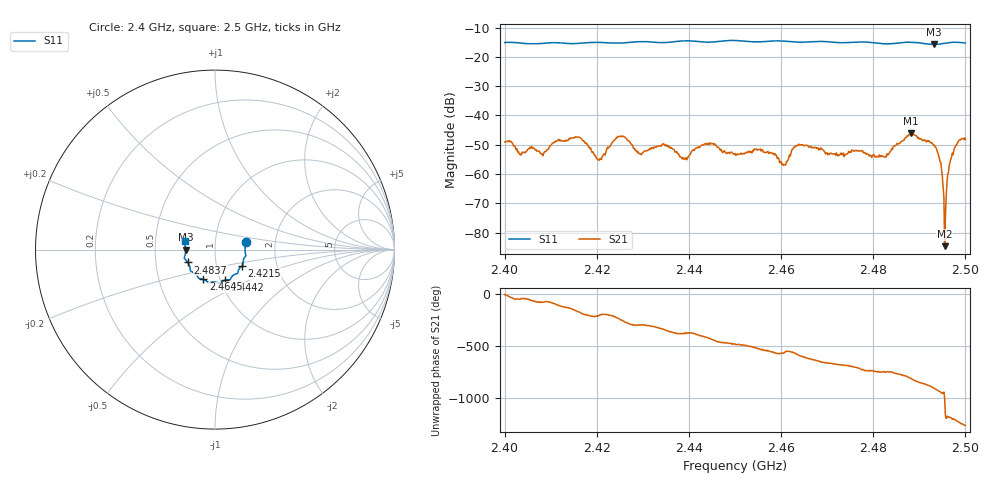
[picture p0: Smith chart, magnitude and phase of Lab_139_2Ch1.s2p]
# Hz S RI R 50
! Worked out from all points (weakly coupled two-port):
!   601 points, 2.4 GHz to 2.5 GHz, reference 50 ohm
!   highest |S21| = -46.10 dB at 2.4882 GHz (marker M1); lowest = -84.6 dB at 2.4955 GHz (marker M2)
!   lowest |S11| = -15.7 dB at 2.4932 GHz (marker M3), VSWR 1.39, Z = 35.9 - j0.0501 ohm
!   |S11| at or under -10 dB: start of sweep to end of sweep
!   S12 and S22 are empty: the file has one direction only
!   S11 on the Smith chart (normalised r, x): 2.4 GHz: 1.41, +0.12; 2.4215 GHz: 1.33, -0.25; 2.4442 GHz: 1.05, -0.37; 2.4645 GHz: 0.83, -0.29; 2.4837 GHz: 0.73, -0.11; 2.5 GHz: 0.71, +0.07
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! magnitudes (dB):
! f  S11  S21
! 2.4 GHz  -15.1  -49.0
! 2.4082 GHz  -15.4  -53.1
! 2.4167 GHz  -15.3  -47.9
! 2.4215 GHz  -15.1  -53.2
! 2.425 GHz  -15.3  -47.1
! 2.4295 GHz  -14.8  -53.2
! 2.4333 GHz  -15.1  -50.5
! 2.4392 GHz  -14.5  -54.9
! 2.4442 GHz  -15.0  -49.5
! 2.45 GHz  -14.4  -53.0
! 2.4555 GHz  -14.9  -51.4
! 2.4607 GHz  -14.6  -56.8
! 2.4645 GHz  -15.0  -50.1
! 2.4667 GHz  -14.8  -51.0
! 2.4833 GHz  -15.6  -53.2
! 2.4837 GHz  -15.5  -52.4
! 2.4882 GHz  -15.0  -46.1
! 2.4932 GHz  -15.7  -50.3
! 2.4945 GHz  -15.6  -55.8
! 2.4955 GHz  -15.4  -84.6
! 2.4973 GHz  -15.0  -53.4
! 2.5 GHz  -15.2  -48.2
